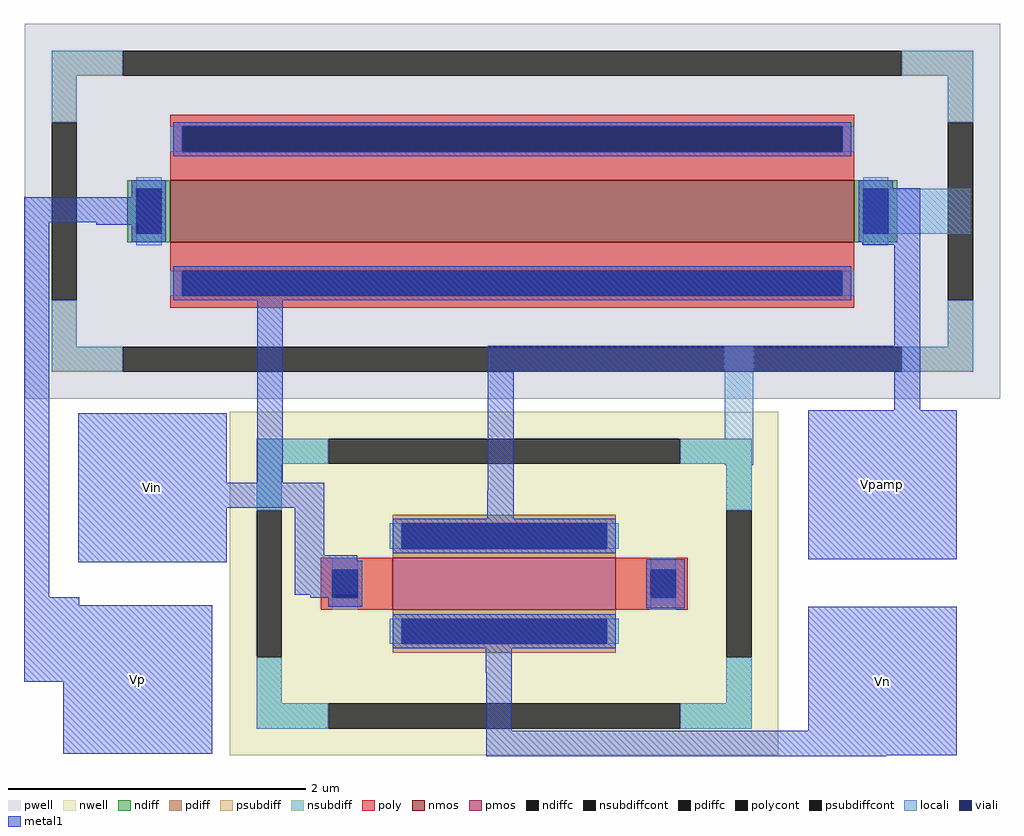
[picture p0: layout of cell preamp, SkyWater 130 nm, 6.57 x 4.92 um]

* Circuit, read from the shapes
.subckt preamp Vp Vin Vpamp Vn
XM1 Vpamp Vin Vp Vpamp sky130_fd_pr__nfet_01v8 w=0.42 l=4.6
XM2 Vpamp Vin Vn Vpamp sky130_fd_pr__pfet_01v8 w=1.5 l=0.35
.ends

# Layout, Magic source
magic
tech sky130A
magscale 1 2
<< locali >>
rect 1498 -166 1642 -106
rect 1312 -478 1350 -318
<< metal1 >>
rect 523 -117 557 -101
rect 369 -151 557 -117
rect 369 -655 403 -151
rect 466 -154 557 -151
rect 523 -171 557 -154
rect 1497 -181 1575 -105
rect 583 -251 1471 -217
rect 442 -501 642 -408
rect 683 -501 717 -251
rect 1540 -317 1575 -181
rect 993 -352 1575 -317
rect 442 -535 773 -501
rect 993 -512 1028 -352
rect 1540 -404 1575 -352
rect 442 -608 642 -535
rect 733 -599 773 -535
rect 992 -554 1028 -512
rect 875 -589 1153 -554
rect 992 -590 1027 -589
rect 733 -652 817 -599
rect 1424 -604 1624 -404
rect 369 -666 443 -655
rect 754 -656 788 -652
rect 369 -769 622 -666
rect 1206 -670 1258 -604
rect 877 -717 1153 -683
rect 990 -756 1025 -717
rect 422 -866 622 -769
rect 991 -835 1025 -756
rect 1424 -835 1624 -668
rect 991 -868 1624 -835
rect 991 -869 1529 -868
use sky130_fd_pr__pfet_01v8_4N47A3  XM0
transform 0 -1 1015 1 0 -637
box -231 -369 231 369
use sky130_fd_pr__nfet_01v8_48YMBA  XM1
transform 1 0 1026 0 1 -136
box -656 -252 656 252
<< labels >>
flabel metal1 422 -866 622 -666 0 FreeSans 256 0 0 0 Vp
port 0 nsew
flabel metal1 1424 -604 1624 -404 0 FreeSans 256 0 0 0 Vpamp
port 2 nsew
flabel metal1 1424 -868 1624 -668 0 FreeSans 256 0 0 0 Vn
port 3 nsew
flabel metal1 442 -608 642 -408 0 FreeSans 256 0 0 0 Vin
port 1 nsew
<< end >>

# cell sky130_fd_pr__pfet_01v8_4N47A3: kit device sky130_fd_pr__pfet_01v8, w 1.5 l 0.35 m 1 nf 1 diffcov 100 polycov 100 guard 1 glc 1 grc 1 gtc 1 gbc 1 tbcov 100 rlcov 100 topc 1 botc 1 poverlap 0 doverlap 1 lmin 0.15 wmin 0.42 compatible {sky130_fd_pr__pfet_01v8 sky130_fd_pr__pfet_01v8_lvt sky130_fd_pr__pfet_01v8_hvt sky130_fd_pr__pfet_g5v0d10v5} full_metal 1 viasrc 100 viadrn 100 viagate 100 viagb 0 viagr 0 viagl 0 viagt 0

# cell sky130_fd_pr__nfet_01v8_48YMBA: kit device sky130_fd_pr__nfet_01v8, w 0.42 l 4.6 m 1 nf 1 diffcov 100 polycov 100 guard 1 glc 1 grc 1 gtc 1 gbc 1 tbcov 100 rlcov 100 topc 1 botc 1 poverlap 0 doverlap 1 lmin 0.15 wmin 0.42 compatible {sky130_fd_pr__nfet_01v8 sky130_fd_pr__nfet_01v8_lvt sky130_fd_bs_flash__special_sonosfet_star sky130_fd_pr__nfet_g5v0d10v5 sky130_fd_pr__nfet_05v0_nvt sky130_fd_pr__nfet_03v3_nvt} full_metal 1 viasrc 100 viadrn 100 viagate 100 viagb 0 viagr 0 viagl 0 viagt 0
